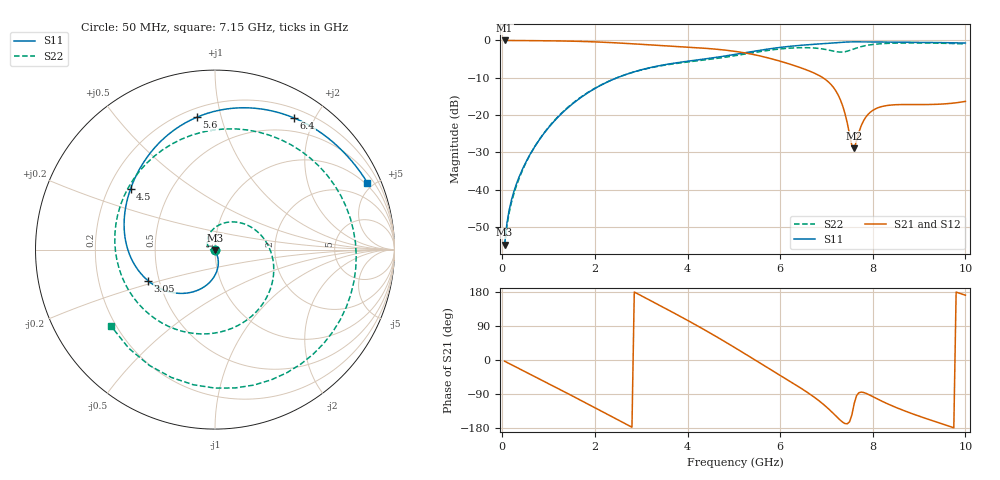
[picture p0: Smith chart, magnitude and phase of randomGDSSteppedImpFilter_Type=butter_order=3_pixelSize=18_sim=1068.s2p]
! freq	dB(S11)	phase(S11)	dB(S12)	phase(S12)
!  dB(S21)	phase(S21)	dB(S22)	phase(S22)
!S-par simulation data
#  GHz  S  DB  R 50
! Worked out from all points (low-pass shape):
!   200 points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, 50 MHz to 10 GHz, reference 50 ohm
!   highest |S21| = -0.01 dB at 50 MHz (marker M1); lowest = -28.9 dB at 7.6 GHz (marker M2)
!   |S21| within 3 dB of the highest: start of sweep to 5.069 GHz
!   lowest |S11| = -54.7 dB at 50 MHz (marker M3), VSWR 1.00, Z = 50.1 - j0.17 ohm
!   |S11| at or under -10 dB: start of sweep to 2.48 GHz
!   |S22| runs from -55.2 to -0.7 dB; largest |S21 - S12| = 0
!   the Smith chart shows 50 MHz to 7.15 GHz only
!   S11 on the Smith chart (normalised r, x): 50 MHz: 1.00, -0.00; 3.05 GHz: 0.43, -0.18; 4.5 GHz: 0.29, +0.30; 5.6 GHz: 0.25, +0.84; 6.4 GHz: 0.32, +1.73; 7.15 GHz: 0.87, +4.61
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0.05  -54.75 -67.8  -0.01 -3.2  -0.01 -3.2  -55.16 -80.7
0.2  -42.70 -74.8  -0.02 -12.5  -0.02 -12.5  -43.35 -123.0
0.55  -31.67 -69.4  -0.05 -34.2  -0.05 -34.2  -31.82 179.7
1.15  -21.25 -78.0  -0.12 -71.8  -0.12 -71.8  -21.11 112.8
1.75  -14.84 -98.5  -0.28 -109.9  -0.28 -109.9  -14.74 57.4
2.45  -10.15 -128.3  -0.64 -154.9  -0.64 -154.9  -10.13 -2.3
3.05  -7.71 -155.2  -1.08 166.6  -1.08 166.6  -7.77 -52.2
3.4  -6.75 -170.6  -1.34 144.0  -1.34 144.0  -6.86 -81.7
4.5  -4.74 144.4  -2.22 70.3  -2.22 70.3  -5.04 175.9
5.05  -3.69 122.2  -2.97 30.5  -2.97 30.5  -4.04 117.7
5.6  -2.56 97.8  -4.26 -10.6  -4.26 -10.6  -2.93 59.2
6.05  -1.80 76.1  -5.75 -44.2  -5.75 -44.2  -2.23 12.9
6.4  -1.35 59.0  -7.14 -70.6  -7.14 -70.6  -1.95 -23.7
6.7  -1.06 44.6  -8.56 -95.0  -8.56 -95.0  -2.00 -59.7
6.95  -0.84 32.9  -10.22 -118.6  -10.22 -118.6  -2.35 -99.1
7.15  -0.66 23.7  -12.58 -141.2  -12.58 -141.2  -2.87 -143.7
7.35  -0.48 14.3  -17.54 -164.1  -17.54 -164.1  -3.11 156.5
7.6  -0.38 2.3  -28.92 -114.3  -28.92 -114.3  -2.25 81.2
7.9  -0.40 -10.9  -19.80 -90.5  -19.80 -90.5  -1.26 22.3
8.35  -0.45 -28.8  -17.38 -117.3  -17.38 -117.3  -0.77 -25.8
9.1  -0.53 -56.0  -17.19 -152.4  -17.19 -152.4  -0.69 -71.9
10  -0.70 -85.7  -16.34 170.9  -16.34 170.9  -0.93 -114.1
